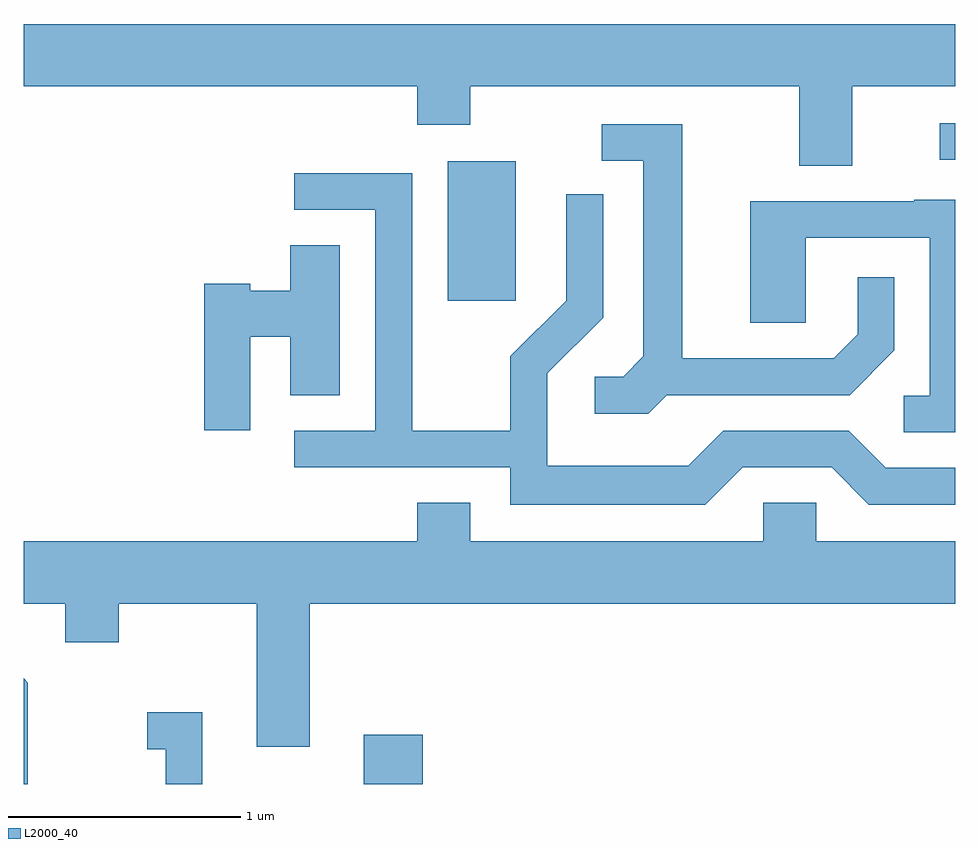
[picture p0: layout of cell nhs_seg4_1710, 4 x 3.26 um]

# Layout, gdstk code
import gdstk
lib = gdstk.Library(unit=1e-6, precision=1e-09)
def R(c, l, rs):  # rectangles x0, y0, x1, y1
    for r in rs: c.add(gdstk.rectangle(r[:2], r[2:], *l))
def P(c, l, *ps):  # polygons
    for p in ps: c.add(gdstk.Polygon(p, *l))
L2000_40 = (2000, 40)

nhs_seg4_1710 = lib.new_cell('nhs_seg4_1710')
R(nhs_seg4_1710, L2000_40, [(237.071,1273.982,237.324,1274.194), (237.431,1276.056,237.724,1276.654), (239.543,1276.661,239.611,1276.819)])
P(nhs_seg4_1710, L2000_40, [(239.169,1276.976),(239.611,1276.976),(239.611,1277.244),(235.611,1277.244),(235.611,1276.976),(237.301,1276.976),(237.301,1276.811),(237.529,1276.811),(237.529,1276.976),(238.941,1276.976),(238.941,1276.636),(239.169,1276.636)],
  [(238.372,1275.651),(239.157,1275.651),(239.349,1275.844),(239.349,1276.158),(239.191,1276.158),(239.191,1275.912),(239.089,1275.809),(238.439,1275.809),(238.439,1276.814),(238.093,1276.814),(238.093,1276.656),(238.271,1276.656),(238.271,1275.817),(238.184,1275.729),(238.063,1275.729),(238.063,1275.571),(238.292,1275.571)],
  [(238.697,1275.341),(239.079,1275.341),(239.239,1275.181),(239.611,1275.181),(239.611,1275.339),(239.312,1275.339),(239.152,1275.499),(238.614,1275.499),(238.464,1275.349),(237.859,1275.349),(237.859,1275.744),(238.099,1275.984),(238.099,1276.513),(237.941,1276.513),(237.941,1276.057),(237.701,1275.817),(237.701,1275.499),(237.279,1275.499),(237.279,1276.604),(236.773,1276.604),(236.773,1276.446),(237.121,1276.446),(237.121,1275.499),(236.773,1275.499),(236.773,1275.341),(237.701,1275.341),(237.701,1275.181),(238.537,1275.181)],
  [(239.611,1276.489),(239.435,1276.489),(239.435,1276.484),(238.731,1276.484),(238.731,1275.961),(238.969,1275.961),(238.969,1276.326),(239.501,1276.326),(239.501,1275.649),(239.388,1275.649),(239.388,1275.491),(239.611,1275.491)],
  [(236.584,1275.901),(236.756,1275.901),(236.756,1275.651),(236.969,1275.651),(236.969,1276.294),(236.756,1276.294),(236.756,1276.099),(236.584,1276.099),(236.584,1276.129),(236.386,1276.129),(236.386,1275.501),(236.584,1275.501)],
  [(236.839,1274.756),(239.611,1274.756),(239.611,1275.024),(239.014,1275.024),(239.014,1275.189),(238.786,1275.189),(238.786,1275.024),(237.529,1275.024),(237.529,1275.189),(237.301,1275.189),(237.301,1275.024),(235.611,1275.024),(235.611,1274.756),(235.791,1274.756),(235.791,1274.591),(236.019,1274.591),(236.019,1274.756),(236.611,1274.756),(236.611,1274.141),(236.839,1274.141)],
  [(235.629,1274.417),(235.611,1274.435),(235.611,1273.982),(235.629,1273.982)],
  [(236.379,1274.289),(236.143,1274.289),(236.143,1274.131),(236.221,1274.131),(236.221,1273.982),(236.379,1273.982)])

lib.write_gds('nhs_seg4_1710.gds')
